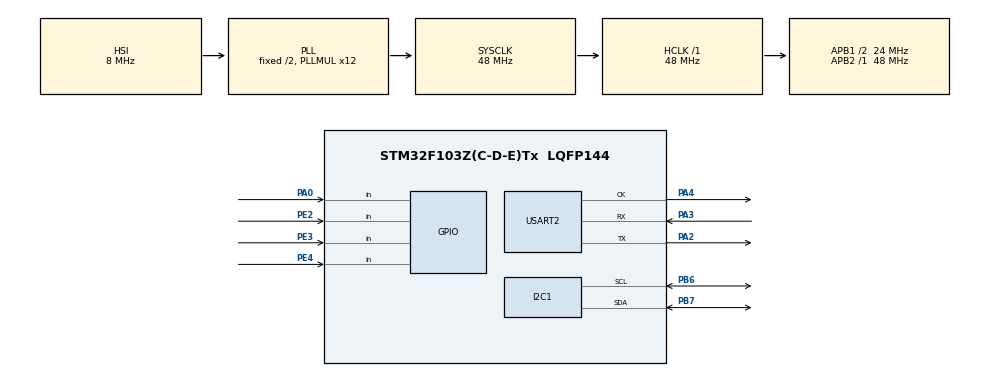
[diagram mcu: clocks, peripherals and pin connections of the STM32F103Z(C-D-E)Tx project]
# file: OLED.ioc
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Dma.Request0=USART2_RX
Dma.Request1=USART2_TX
Dma.USART2_RX.0.Direction=DMA_PERIPH_TO_MEMORY
Dma.USART2_RX.0.Instance=DMA1_Channel6
Dma.USART2_RX.0.MemDataAlignment=DMA_MDATAALIGN_BYTE
Dma.USART2_RX.0.MemInc=DMA_MINC_ENABLE
Dma.USART2_RX.0.Mode=DMA_NORMAL
Dma.USART2_RX.0.PeriphDataAlignment=DMA_PDATAALIGN_BYTE
Dma.USART2_RX.0.PeriphInc=DMA_PINC_DISABLE
Dma.USART2_RX.0.Priority=DMA_PRIORITY_LOW
Dma.USART2_TX.1.Direction=DMA_MEMORY_TO_PERIPH
Dma.USART2_TX.1.Instance=DMA1_Channel7
Dma.USART2_TX.1.MemDataAlignment=DMA_MDATAALIGN_BYTE
Dma.USART2_TX.1.MemInc=DMA_MINC_ENABLE
Dma.USART2_TX.1.Mode=DMA_NORMAL
Dma.USART2_TX.1.PeriphDataAlignment=DMA_PDATAALIGN_BYTE
Dma.USART2_TX.1.PeriphInc=DMA_PINC_DISABLE
Dma.USART2_TX.1.Priority=DMA_PRIORITY_LOW
FREERTOS.Tasks01=defaultTask,24,128,StartDefaultTask,Default,NULL,Dynamic,NULL,NULL
FREERTOS.configUSE_NEWLIB_REENTRANT=1
Mcu.Family=STM32F1
Mcu.Name=STM32F103Z(C-D-E)Tx
Mcu.Package=LQFP144
NVIC.DMA1_Channel6_IRQn=true\:5\:0\:false\:false\:true\:true\:false\:true\:true
NVIC.DMA1_Channel7_IRQn=true\:5\:0\:false\:false\:true\:true\:false\:true\:true
NVIC.PriorityGroup=NVIC_PRIORITYGROUP_4
NVIC.TIM6_IRQn=true\:15\:0\:false\:false\:true\:false\:false\:true\:true
NVIC.TimeBase=TIM6_IRQn
NVIC.TimeBaseIP=TIM6
NVIC.USART2_IRQn=true\:5\:0\:false\:false\:true\:true\:false\:true\:true
OSC_IN.Mode=HSE-External-Oscillator
OSC_IN.Signal=RCC_OSC_IN
OSC_OUT.Mode=HSE-External-Oscillator
OSC_OUT.Signal=RCC_OSC_OUT
PA0-WKUP.Signal=GPIO_Input
PA13.Mode=JTAG_5_pins
PA13.Signal=SYS_JTMS-SWDIO
PA14.Mode=JTAG_5_pins
PA14.Signal=SYS_JTCK-SWCLK
PA15.Mode=JTAG_5_pins
PA15.Signal=SYS_JTDI
PA2.Mode=Synchronous
PA2.Signal=USART2_TX
PA3.Mode=Synchronous
PA3.Signal=USART2_RX
PA4.Mode=Synchronous
PA4.Signal=USART2_CK
PB3.Mode=JTAG_5_pins
PB3.Signal=SYS_JTDO-TRACESWO
PB4.Mode=JTAG_5_pins
PB4.Signal=SYS_NJTRST
PB6.Mode=I2C
PB6.Signal=I2C1_SCL
PB7.Mode=I2C
PB7.Signal=I2C1_SDA
PC14-OSC32_IN.Mode=LSE-External-Oscillator
PC14-OSC32_IN.Signal=RCC_OSC32_IN
PC15-OSC32_OUT.Mode=LSE-External-Oscillator
PC15-OSC32_OUT.Signal=RCC_OSC32_OUT
PE2.Signal=GPIO_Input
PE3.Signal=GPIO_Input
PE4.Signal=GPIO_Input
ProjectManager.HeapSize=0x200
ProjectManager.StackSize=0x400
ProjectManager.TargetToolchain=STM32CubeIDE
RCC.AHBFreq_Value=48000000
RCC.APB1CLKDivider=RCC_HCLK_DIV2
RCC.APB1Freq_Value=24000000
RCC.APB1TimFreq_Value=48000000
RCC.APB2Freq_Value=48000000
RCC.APB2TimFreq_Value=48000000
RCC.HCLKFreq_Value=48000000
RCC.PLLMUL=RCC_PLL_MUL12
RCC.SYSCLKFreq_VALUE=48000000
RCC.SYSCLKSource=RCC_SYSCLKSOURCE_PLLCLK
RCC.USBFreq_Value=48000000
USART2.VirtualMode=VM_SYNC
VP_FREERTOS_VS_CMSIS_V2.Mode=CMSIS_V2
VP_SYS_VS_tim6.Mode=TIM6
board=custom

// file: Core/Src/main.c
/* USER CODE BEGIN Header */
/**
 ******************************************************************************
 * @file           : main.c
 * @brief          : Main program body
 ******************************************************************************
 * @attention
 *
 * Copyright (c) 2024 STMicroelectronics.
 * All rights reserved.
 *
 * This software is licensed under terms that can be found in the LICENSE file
 * in the root directory of this software component.
 * If no LICENSE file comes with this software, it is provided AS-IS.
 *
 ******************************************************************************
 */
/* USER CODE END Header */
#include "main.h"
#include "cmsis_os.h"
#include "dma.h"
#include "i2c.h"
#include "usart.h"
#include "gpio.h"

/* USER CODE BEGIN Includes */
#include "oled.h"
/* USER CODE END Includes */

void SystemClock_Config(void);
void MX_FREERTOS_Init(void);

int main(void)
{

  /* MCU Configuration--------------------------------------------------------*/

  /* Reset of all peripherals, Initializes the Flash interface and the Systick. */
  HAL_Init();

  /* Configure the system clock */
  SystemClock_Config();

  /* Initialize all configured peripherals */
  MX_GPIO_Init();
  MX_DMA_Init();
  MX_USART2_Init();
  MX_I2C1_Init();
  /* USER CODE BEGIN 2 */
	OLED_Init();                           //OLED初始
	OLED_Clear();                         //清屏
	//上面的初始化以及清屏的代码在�?�?始处�?定要�?
	OLED_ShowString(0, 0, "UNICORN_LI", 16, 1);    //反相显示8X16字符�?
	OLED_ShowString(0, 2, "unicorn_li_123", 12, 0);    //正相显示6X8字符�?

	OLED_ShowCHinese(0, 4, 0, 1); //反相显示汉字“独�?
	OLED_ShowCHinese(16, 4, 1, 1); //反相显示汉字“角�?
	OLED_ShowCHinese(32, 4, 2, 1); //反相显示汉字“兽�?
	OLED_ShowCHinese(0, 6, 0, 0); //正相显示汉字“独�?
	OLED_ShowCHinese(16, 6, 1, 0); //正相显示汉字“角�?
	OLED_ShowCHinese(32, 6, 2, 0); //正相显示汉字“兽�?

	OLED_ShowNum(48, 4, 6, 1, 16, 0); //正相显示1�?8X16数字�?6�?
	OLED_ShowNum(48, 7, 77, 2, 12, 1); //反相显示2�?6X8数字�?77�?
	OLED_DrawBMP(90, 0, 122, 4, BMP1, 0); //正相显示图片BMP1
	OLED_DrawBMP(90, 4, 122, 8, BMP1, 1); //反相显示图片BMP1
	//OLED_HorizontalShift(0x26); //全屏水平向右滚动播放

	//显示正负浮点数的代码
	//  float num1=-231.24;
	//  float num2=23.375;

	//OLED_ShowString(0,0,"Show Decimal",12,0);
	//OLED_Showdecimal(0,4,num1,3,2,12, 0);
	//OLED_Showdecimal(0,6,num2,2,3,16, 1);
	/* USER CODE BEGIN 3 */
  /* USER CODE END 2 */

  /* Init scheduler */
  osKernelInitialize();

  /* Call init function for freertos objects (in cmsis_os2.c) */
  MX_FREERTOS_Init();

  /* Start scheduler */
  osKernelStart();

  /* We should never get here as control is now taken by the scheduler */

  /* Infinite loop */
	while (1) {

    /* USER CODE BEGIN 3 */
  /* USER CODE END 2 */

  /* Init scheduler */
  osKernelInitialize();

  /* Call init function for freertos objects (in cmsis_os2.c) */
  MX_FREERTOS_Init();

  /* Start scheduler */
  osKernelStart();

  /* We should never get here as control is now taken by the scheduler */

  /* Infinite loop */
  /* USER CODE BEGIN WHILE */
	while (1) {
    /* USER CODE END WHILE */

    /* USER CODE BEGIN 3 */
	/* USER CODE END 2 */

	/* Infinite loop */
	/* USER CODE BEGIN WHILE */
	while (1) {
		/* USER CODE END WHILE */

	}
  /* USER CODE END 3 */
}

void SystemClock_Config(void)
{
  RCC_OscInitTypeDef RCC_OscInitStruct = {0};
  RCC_ClkInitTypeDef RCC_ClkInitStruct = {0};

  /** Initializes the RCC Oscillators according to the specified parameters
  * in the RCC_OscInitTypeDef structure.
  */
  RCC_OscInitStruct.OscillatorType = RCC_OSCILLATORTYPE_HSI;
  RCC_OscInitStruct.HSIState = RCC_HSI_ON;
  RCC_OscInitStruct.HSICalibrationValue = RCC_HSICALIBRATION_DEFAULT;
  RCC_OscInitStruct.PLL.PLLState = RCC_PLL_ON;
  RCC_OscInitStruct.PLL.PLLSource = RCC_PLLSOURCE_HSI_DIV2;
  RCC_OscInitStruct.PLL.PLLMUL = RCC_PLL_MUL12;
  if (HAL_RCC_OscConfig(&RCC_OscInitStruct) != HAL_OK)
  {
    Error_Handler();
  }

  /** Initializes the CPU, AHB and APB buses clocks
  */
  RCC_ClkInitStruct.ClockType = RCC_CLOCKTYPE_HCLK|RCC_CLOCKTYPE_SYSCLK
                              |RCC_CLOCKTYPE_PCLK1|RCC_CLOCKTYPE_PCLK2;
  RCC_ClkInitStruct.SYSCLKSource = RCC_SYSCLKSOURCE_PLLCLK;
  RCC_ClkInitStruct.AHBCLKDivider = RCC_SYSCLK_DIV1;
  RCC_ClkInitStruct.APB1CLKDivider = RCC_HCLK_DIV2;
  RCC_ClkInitStruct.APB2CLKDivider = RCC_HCLK_DIV1;

  if (HAL_RCC_ClockConfig(&RCC_ClkInitStruct, FLASH_LATENCY_1) != HAL_OK)
  {
    Error_Handler();
  }
}

void HAL_TIM_PeriodElapsedCallback(TIM_HandleTypeDef *htim)
{
  if (htim->Instance == TIM6) {
    HAL_IncTick();
  }
}

void Error_Handler(void)
{
	__disable_irq();
	while (1) {
	}
}
